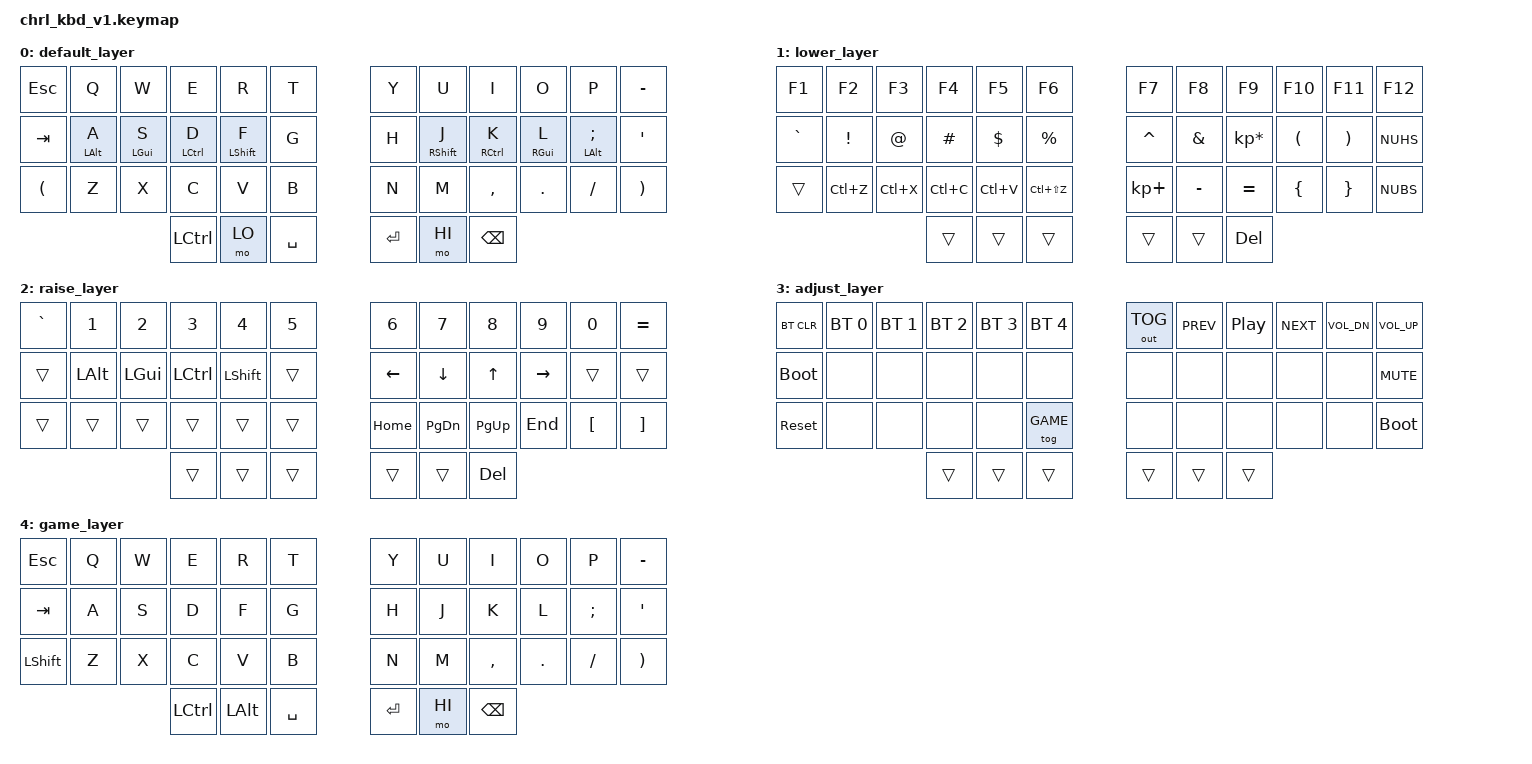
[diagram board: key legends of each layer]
/*
 * Copyright (c) 2020 The ZMK Contributors
 *
 * SPDX-License-Identifier: MIT
 *
 * chrl-kbd v1 -- 42-key split (3x6 + 3 thumbs per half).
 * Derived from the Lily58 layout in this repo, minus the number row,
 * the inner "[" / "]" keys, and the outermost thumb on each half.
 */

#include <behaviors.dtsi>
#include <dt-bindings/zmk/keys.h>
#include <dt-bindings/zmk/bt.h>
#include <dt-bindings/zmk/ext_power.h>
#include <dt-bindings/zmk/outputs.h>

#define DEF  0
#define LO   1
#define HI   2
#define ADJ  3
#define GAME 4

/ {
    behaviors {
        ht: hold_tap {
            compatible = "zmk,behavior-hold-tap";
            #binding-cells = <2>;
            bindings = <&kp>, <&kp>;
            flavor = "tap-preferred";
            tapping-term-ms = <200>;
            quick-tap-ms = <200>;
            require-prior-idle-ms = <50>;
        };
    };

    // Holding both thumb layer keys opens ADJ (bluetooth, media, reset).
    conditional_layers {
        compatible = "zmk,conditional-layers";
        tri_layer {
            if-layers = <LO HI>;
            then-layer = <ADJ>;
        };
    };

    combos {
        compatible = "zmk,combos";
        // "," + "/" together toggles the game layer, in both directions.
        // Non-adjacent, so it is hard to roll into by accident, and neither
        // key gets used in games.
        combo_game {
            timeout-ms = <50>;
            key-positions = <32 34>;
            bindings = <&tog GAME>;
            layers = <DEF GAME>;
        };
    };

    keymap {
        compatible = "zmk,keymap";

        default_layer {
// ---------------------------------------------------------------------------------
// | ESC  |  Q  |  W  |  E  |  R  |  T  |     |  Y  |  U  |  I  |  O  |  P  |  -  |
// | TAB  |  A  |  S  |  D  |  F  |  G  |     |  H  |  J  |  K  |  L  |  ;  |  '  |
// |  (   |  Z  |  X  |  C  |  V  |  B  |     |  N  |  M  |  ,  |  .  |  /  |  )  |
//                    | CTL |  LO | SPC |     | RET |  HI | BSPC |
//
// GUI is deliberately only a home row mod (hold S / hold L). The outer left thumb
// holds CTRL instead: it makes ctrl+shift+<letter> a thumb plus one home row mod
// rather than two home row mods held at once, and it puts CTRL on the same physical
// key it occupies on the game layer.
            bindings = <
&kp ESC  &kp Q      &kp W      &kp E       &kp R       &kp T          &kp Y   &kp U       &kp I       &kp O      &kp P         &kp MINUS
&kp TAB  &ht LALT A &ht LGUI S &ht LCTRL D &ht LSHFT F &kp G          &kp H   &ht RSHFT J &ht RCTRL K &ht RGUI L &ht LALT SEMI &kp SQT
&kp LPAR &kp Z      &kp X      &kp C       &kp V       &kp B          &kp N   &kp M       &kp COMMA   &kp DOT    &kp FSLH      &kp RPAR
                                &kp LCTRL  &mo LO      &kp SPACE      &kp RET &mo HI      &kp BSPC
            >;
        };

        lower_layer {
// ---------------------------------------------------------------------------------
// |  F1  | F2  | F3  | F4  | F5  | F6  |     | F7  | F8  | F9  | F10 | F11 | F12 |
// |  `   |  !  |  "  |  £  |  $  |  %  |     |  ^  |  &  |  *  |  (  |  )  |  #  |
// |      | UND | CUT | CPY | PST | RDO |     |  +  |  -  |  =  |  {  |  }  |  \  |
//                    |     |     |     |     |     |     | DEL |
            bindings = <
&kp F1    &kp F2    &kp F3    &kp F4    &kp F5     &kp F6           &kp F7      &kp F8    &kp F9          &kp F10  &kp F11  &kp F12
&kp GRAVE &kp EXCL  &kp AT    &kp HASH  &kp DOLLAR &kp PRCNT        &kp CARET   &kp AMPS  &kp KP_MULTIPLY &kp LPAR &kp RPAR &kp NUHS
&trans    &kp LC(Z) &kp LC(X) &kp LC(C) &kp LC(V)  &kp LC(LS(Z))    &kp KP_PLUS &kp MINUS &kp EQUAL       &kp LBRC &kp RBRC &kp NUBS
                              &trans    &trans     &trans           &trans      &trans    &kp DEL
            >;
        };

        raise_layer {
// ---------------------------------------------------------------------------------
// |  `   |  1  |  2  |  3  |  4  |  5  |     |  6  |  7  |  8  |  9  |  0  |  =  |
// |      | ALT | GUI | CTL | SFT |     |     |  <  |  v  |  ^  |  >  |     |     |
// |      |     |     |     |     |     |     | HOME| PGDN| PGUP| END |  [  |  ]  |
//                    |     |     |     |     |     |     | DEL |
            bindings = <
&kp GRAVE &kp N1   &kp N2   &kp N3    &kp N4    &kp N5     &kp N6   &kp N7    &kp N8    &kp N9    &kp N0   &kp EQUAL
&trans    &kp LALT &kp LGUI &kp LCTRL &kp LSHFT &trans     &kp LEFT &kp DOWN  &kp UP    &kp RIGHT &trans   &trans
&trans    &trans   &trans   &trans    &trans    &trans     &kp HOME &kp PG_DN &kp PG_UP &kp END   &kp LBKT &kp RBKT
                            &trans    &trans    &trans     &trans   &trans    &kp DEL
            >;
        };

        adjust_layer {
// ---------------------------------------------------------------------------------
// | BTCLR| BT1 | BT2 | BT3 | BT4 | BT5 |     | OUT | PREV| PLAY| NEXT| VOL-| VOL+|
// | BOOT |     |     |     |     |     |     |     |     |     |     |     | MUTE|
// | RESET|     |     |     |     |GAME |     |     |     |     |     |     | BOOT|
//                    |     |     |     |     |     |     |     |
            bindings = <
&bt BT_CLR  &bt BT_SEL 0 &bt BT_SEL 1 &bt BT_SEL 2 &bt BT_SEL 3 &bt BT_SEL 4    &out OUT_TOG &kp C_PREV &kp C_PP &kp C_NEXT &kp C_VOL_DN &kp C_VOL_UP
&bootloader &none        &none        &none        &none        &none           &none        &none      &none    &none      &none        &kp C_MUTE
&sys_reset  &none        &none        &none        &none        &tog GAME       &none        &none      &none    &none      &none        &bootloader
                                      &trans       &trans       &trans          &trans       &trans     &trans
            >;
        };

        game_layer {
// ---------------------------------------------------------------------------------
// | ESC  |  Q  |  W  |  E  |  R  |  T  |     |  Y  |  U  |  I  |  O  |  P  |  -  |
// | TAB  |  A  |  S  |  D  |  F  |  G  |     |  H  |  J  |  K  |  L  |  ;  |  '  |
// | SHIFT|  Z  |  X  |  C  |  V  |  B  |     |  N  |  M  |  ,  |  .  |  /  |  )  |
//                    | CTL | ALT | SPC |     | RET |  HI | BSPC |
// No home row mods. "," + "/" toggles back to the default layer.
            bindings = <
&kp ESC   &kp Q &kp W &kp E     &kp R    &kp T        &kp Y   &kp U  &kp I     &kp O   &kp P    &kp MINUS
&kp TAB   &kp A &kp S &kp D     &kp F    &kp G        &kp H   &kp J  &kp K     &kp L   &kp SEMI &kp SQT
&kp LSHFT &kp Z &kp X &kp C     &kp V    &kp B        &kp N   &kp M  &kp COMMA &kp DOT &kp FSLH &kp RPAR
                      &kp LCTRL &kp LALT &kp SPACE    &kp RET &mo HI &kp BSPC
            >;
        };
    };
};
